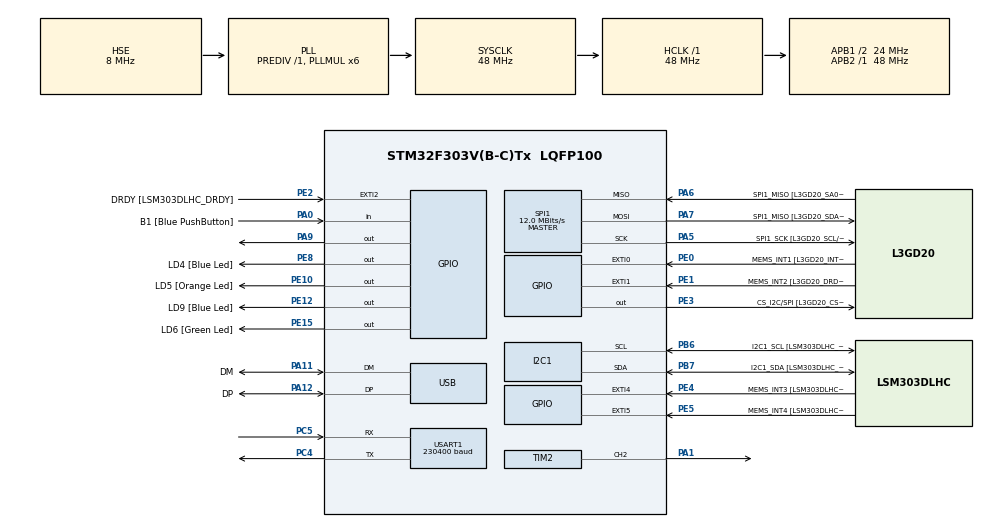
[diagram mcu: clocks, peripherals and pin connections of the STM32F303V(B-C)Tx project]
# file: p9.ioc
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I2C1.Timing=0x2000090E
I2C1.Timing-I2C=0x2000090E
Mcu.Family=STM32F3
Mcu.Name=STM32F303V(B-C)Tx
Mcu.Package=LQFP100
NVIC.PriorityGroup=NVIC_PRIORITYGROUP_0
NVIC.TIM3_IRQn=true\:0\:0\:false\:false\:true\:true\:true\:true
NVIC.USART1_IRQn=true\:0\:0\:false\:false\:true\:true\:true\:true
PA0.GPIO_Label=B1 [Blue PushButton]
PA0.Signal=GPIO_Input
PA1.Signal=S_TIM2_CH2
PA11.GPIO_Label=DM
PA11.Mode=Device
PA11.Signal=USB_DM
PA12.GPIO_Label=DP
PA12.Mode=Device
PA12.Signal=USB_DP
PA13.GPIO_Label=SWDIO
PA13.Mode=Serial_Wire
PA13.Signal=SYS_JTMS-SWDIO
PA14.GPIO_Label=SWCLK
PA14.Mode=Serial_Wire
PA14.Signal=SYS_JTCK-SWCLK
PA5.GPIO_Label=SPI1_SCK [L3GD20_SCL/SPC]
PA5.Mode=Full_Duplex_Master
PA5.Signal=SPI1_SCK
PA6.GPIO_Label=SPI1_MISO [L3GD20_SA0/SDO]
PA6.Mode=Full_Duplex_Master
PA6.Signal=SPI1_MISO
PA7.GPIO_Label=SPI1_MISO [L3GD20_SDA/SDI/SDO]
PA7.Mode=Full_Duplex_Master
PA7.Signal=SPI1_MOSI
PA9.Signal=GPIO_Output
PB3.GPIO_Label=SWO
PB3.Signal=SYS_JTDO-TRACESWO
PB6.GPIO_Label=I2C1_SCL [LSM303DLHC_SCL]
PB6.GPIO_Pu=GPIO_PULLUP
PB6.Mode=I2C
PB6.Signal=I2C1_SCL
PB7.GPIO_Label=I2C1_SDA [LSM303DLHC_SDA]
PB7.GPIO_Pu=GPIO_PULLUP
PB7.Mode=I2C
PB7.Signal=I2C1_SDA
PC14-OSC32_IN.GPIO_Label=OSC32_IN
PC14-OSC32_IN.Signal=RCC_OSC32_IN
PC15-OSC32_OUT.GPIO_Label=OSC32_OUT
PC15-OSC32_OUT.Signal=RCC_OSC32_OUT
PC4.Mode=Asynchronous
PC4.Signal=USART1_TX
PC5.Mode=Asynchronous
PC5.Signal=USART1_RX
PE0.GPIO_Label=MEMS_INT1 [L3GD20_INT1]
PE0.GPIO_ModeDefaultEXTI=GPIO_MODE_EVT_RISING
PE0.Signal=GPXTI0
PE1.GPIO_Label=MEMS_INT2 [L3GD20_DRDY/INT2]
PE1.GPIO_ModeDefaultEXTI=GPIO_MODE_EVT_RISING
PE1.Signal=GPXTI1
PE10.GPIO_Label=LD5 [Orange Led]
PE10.Signal=GPIO_Output
PE12.GPIO_Label=LD9 [Blue Led]
PE12.Signal=GPIO_Output
PE15.GPIO_Label=LD6 [Green Led]
PE15.Signal=GPIO_Output
PE2.GPIO_Label=DRDY [LSM303DLHC_DRDY]
PE2.GPIO_ModeDefaultEXTI=GPIO_MODE_EVT_RISING
PE2.Signal=GPXTI2
PE3.GPIO_Label=CS_I2C/SPI [L3GD20_CS_I2C/SPI]
PE3.Signal=GPIO_Output
PE4.GPIO_Label=MEMS_INT3 [LSM303DLHC_INT1]
PE4.GPIO_ModeDefaultEXTI=GPIO_MODE_EVT_RISING
PE4.Signal=GPXTI4
PE5.GPIO_Label=MEMS_INT4 [LSM303DLHC_INT2]
PE5.GPIO_ModeDefaultEXTI=GPIO_MODE_EVT_RISING
PE5.Signal=GPXTI5
PE8.GPIO_Label=LD4 [Blue Led]
PE8.Signal=GPIO_Output
PF0-OSC_IN.GPIO_Label=OSC_IN
PF0-OSC_IN.Mode=HSE-External-Clock-Source
PF0-OSC_IN.Signal=RCC_OSC_IN
PF1-OSC_OUT.GPIO_Label=OSC_OUT
PF1-OSC_OUT.Signal=RCC_OSC_OUT
ProjectManager.HeapSize=0x200
ProjectManager.StackSize=0x400
ProjectManager.TargetToolchain=STM32CubeIDE
RCC.AHBFreq_Value=48000000
RCC.APB1CLKDivider=RCC_HCLK_DIV2
RCC.APB1Freq_Value=24000000
RCC.APB1TimFreq_Value=48000000
RCC.APB2Freq_Value=48000000
RCC.APB2TimFreq_Value=48000000
RCC.CortexFreq_Value=48000000
RCC.HCLKFreq_Value=48000000
RCC.HSE_VALUE=8000000
RCC.HSI_VALUE=8000000
RCC.LSE_VALUE=32768
RCC.PLLMUL=RCC_PLL_MUL6
RCC.SYSCLKFreq_VALUE=48000000
RCC.SYSCLKSourceVirtual=RCC_SYSCLKSOURCE_PLLCLK
RCC.USBFreq_Value=48000000
SH.S_TIM2_CH2.0=TIM2_CH2,PWM Generation2 CH2
SPI1.BaudRatePrescaler=SPI_BAUDRATEPRESCALER_4
SPI1.BaudRatePrescaler-Full_Duplex_Master=SPI_BAUDRATEPRESCALER_2
SPI1.CalculateBaudRate=12.0 MBits/s
SPI1.CalculateBaudRate-Full_Duplex_Master=24.0 MBits/s
SPI1.Direction=SPI_DIRECTION_2LINES
SPI1.Mode=SPI_MODE_MASTER
SPI1.Mode-Full_Duplex_Master=SPI_MODE_MASTER
SPI1.VirtualType=VM_MASTER
TIM2.Channel-PWM\ Generation2\ CH2=TIM_CHANNEL_2
TIM3.Period=10000-1
TIM3.Prescaler=480-1
USART1.BaudRate=230400
USART1.VirtualMode-Asynchronous=VM_ASYNC
VP_TIM2_VS_ClockSourceINT.Mode=Internal
VP_TIM3_VS_ClockSourceINT.Mode=Internal
board=STM32F3DISCOVERY

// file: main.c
/* USER CODE BEGIN Header */
/**
  ******************************************************************************
  * @file           : main.c
  * @brief          : Main program body
  ******************************************************************************
  * @attention
  *
  * Copyright (c) 2023 STMicroelectronics.
  * All rights reserved.
  *
  * This software is licensed under terms that can be found in the LICENSE file
  * in the root directory of this software component.
  * If no LICENSE file comes with this software, it is provided AS-IS.
  *
  ******************************************************************************
  */
/* USER CODE END Header */
#include "main.h"

/* USER CODE BEGIN Includes */
#include <stdbool.h>

/* USER CODE END Includes */

I2C_HandleTypeDef hi2c1;

SPI_HandleTypeDef hspi1;

TIM_HandleTypeDef htim2;
TIM_HandleTypeDef htim3;

UART_HandleTypeDef huart1;

PCD_HandleTypeDef hpcd_USB_FS;

/* USER CODE BEGIN PV */
bool active = false;
bool diez = false;
int octave;
char ch;
int freq;
int clk_count = 0;
int volume = 26;
int note_freq[7][7] =
{
		{55, 62, 33, 37, 41, 44, 49},
		{110, 123, 65, 73, 82, 87, 98},
		{220, 247, 131, 147, 165, 175, 196},
		{440, 494, 262, 294, 330, 349, 392},
		{880, 988, 523, 587, 659, 698, 784},
		{1760, 1976, 1047, 1175, 1319, 1397, 1568},
		{3520, 3951, 2093, 2349, 2637, 2794, 3136}

};

int note_freq_diez[7][7] =
{
		{58, 65, 35, 39, 44, 46, 52},
		{117, 131, 69, 78, 87, 93, 104},
		{233, 262, 139, 156, 175, 185, 208},
		{466, 523, 277, 311, 349, 370, 415},
		{932, 1047, 554, 622, 698, 740, 831},
		{1865, 2093, 1109, 1245, 1397, 1480, 1661},
		{3729, 4186, 2217, 2489, 2794, 2960, 3322}

};
/* USER CODE END PV */

void SystemClock_Config(void);
static void MX_GPIO_Init(void);
static void MX_I2C1_Init(void);
static void MX_SPI1_Init(void);
static void MX_USB_PCD_Init(void);
static void MX_TIM2_Init(void);
static void MX_USART1_UART_Init(void);
static void MX_TIM3_Init(void);

/* USER CODE BEGIN 0 */

TIM_HandleTypeDef *pwm_timer = &htim2; // Point to PWM timer configured in CubeMX
uint32_t pwm_channel = TIM_CHANNEL_2;  // Specify configured PWM channel

void PWM_Start()
{
  HAL_TIM_PWM_Start(pwm_timer, pwm_channel);
}

void PWM_Change_Tone(uint16_t pwm_freq, uint16_t volume) // pwm_freq (1 - 20000), volume (0 - 1000)
{

  if (pwm_freq == 0 || pwm_freq > 20000)
  {
    __HAL_TIM_SET_COMPARE(pwm_timer, pwm_channel, 0);
  }
  else
  {
    const uint32_t internal_clock_freq = HAL_RCC_GetSysClockFreq();
	  const uint16_t prescaler = 1 + internal_clock_freq / pwm_freq / 60000;
    const uint32_t timer_clock = internal_clock_freq / prescaler;
    const uint32_t period_cycles = timer_clock / pwm_freq;
    const uint32_t pulse_width = volume * period_cycles / 1000 / 2;

    pwm_timer->Instance->PSC = prescaler - 1;
    pwm_timer->Instance->ARR = period_cycles - 1;
    pwm_timer->Instance->EGR = TIM_EGR_UG;
    __HAL_TIM_SET_COMPARE(pwm_timer, pwm_channel, pulse_width); // pwm_timer->Instance->CCR2 = pulse_width;
  }

}
/* USER CODE END 0 */

int main(void)
{

  /* MCU Configuration--------------------------------------------------------*/

  /* Reset of all peripherals, Initializes the Flash interface and the Systick. */
  HAL_Init();

  /* Configure the system clock */
  SystemClock_Config();

  /* Initialize all configured peripherals */
  MX_GPIO_Init();
  MX_I2C1_Init();
  MX_SPI1_Init();
  MX_USB_PCD_Init();
  MX_TIM2_Init();
  MX_USART1_UART_Init();
  MX_TIM3_Init();

  /* Infinite loop */
  /* USER CODE BEGIN WHILE */
  HAL_TIM_Base_Start_IT(&htim3);
  PWM_Start();

  HAL_UART_Receive_IT(&huart1, &ch, 1);

  while (1)
  {

    /* USER CODE END WHILE */

  }
}

void SystemClock_Config(void)
{
  RCC_OscInitTypeDef RCC_OscInitStruct = {0};
  RCC_ClkInitTypeDef RCC_ClkInitStruct = {0};
  RCC_PeriphCLKInitTypeDef PeriphClkInit = {0};

  /** Initializes the RCC Oscillators according to the specified parameters
  * in the RCC_OscInitTypeDef structure.
  */
  RCC_OscInitStruct.OscillatorType = RCC_OSCILLATORTYPE_HSI|RCC_OSCILLATORTYPE_HSE;
  RCC_OscInitStruct.HSEState = RCC_HSE_BYPASS;
  RCC_OscInitStruct.HSEPredivValue = RCC_HSE_PREDIV_DIV1;
  RCC_OscInitStruct.HSIState = RCC_HSI_ON;
  RCC_OscInitStruct.HSICalibrationValue = RCC_HSICALIBRATION_DEFAULT;
  RCC_OscInitStruct.PLL.PLLState = RCC_PLL_ON;
  RCC_OscInitStruct.PLL.PLLSource = RCC_PLLSOURCE_HSE;
  RCC_OscInitStruct.PLL.PLLMUL = RCC_PLL_MUL6;
  if (HAL_RCC_OscConfig(&RCC_OscInitStruct) != HAL_OK)
  {
    Error_Handler();
  }

  /** Initializes the CPU, AHB and APB buses clocks
  */
  RCC_ClkInitStruct.ClockType = RCC_CLOCKTYPE_HCLK|RCC_CLOCKTYPE_SYSCLK
                              |RCC_CLOCKTYPE_PCLK1|RCC_CLOCKTYPE_PCLK2;
  RCC_ClkInitStruct.SYSCLKSource = RCC_SYSCLKSOURCE_PLLCLK;
  RCC_ClkInitStruct.AHBCLKDivider = RCC_SYSCLK_DIV1;
  RCC_ClkInitStruct.APB1CLKDivider = RCC_HCLK_DIV2;
  RCC_ClkInitStruct.APB2CLKDivider = RCC_HCLK_DIV1;

  if (HAL_RCC_ClockConfig(&RCC_ClkInitStruct, FLASH_LATENCY_1) != HAL_OK)
  {
    Error_Handler();
  }
  PeriphClkInit.PeriphClockSelection = RCC_PERIPHCLK_USB|RCC_PERIPHCLK_USART1
                              |RCC_PERIPHCLK_I2C1;
  PeriphClkInit.Usart1ClockSelection = RCC_USART1CLKSOURCE_PCLK2;
  PeriphClkInit.I2c1ClockSelection = RCC_I2C1CLKSOURCE_HSI;
  PeriphClkInit.USBClockSelection = RCC_USBCLKSOURCE_PLL;
  if (HAL_RCCEx_PeriphCLKConfig(&PeriphClkInit) != HAL_OK)
  {
    Error_Handler();
  }
}

static void MX_I2C1_Init(void)
{

  hi2c1.Instance = I2C1;
  hi2c1.Init.Timing = 0x2000090E;
  hi2c1.Init.OwnAddress1 = 0;
  hi2c1.Init.AddressingMode = I2C_ADDRESSINGMODE_7BIT;
  hi2c1.Init.DualAddressMode = I2C_DUALADDRESS_DISABLE;
  hi2c1.Init.OwnAddress2 = 0;
  hi2c1.Init.OwnAddress2Masks = I2C_OA2_NOMASK;
  hi2c1.Init.GeneralCallMode = I2C_GENERALCALL_DISABLE;
  hi2c1.Init.NoStretchMode = I2C_NOSTRETCH_DISABLE;
  if (HAL_I2C_Init(&hi2c1) != HAL_OK)
  {
    Error_Handler();
  }

  /** Configure Analogue filter
  */
  if (HAL_I2CEx_ConfigAnalogFilter(&hi2c1, I2C_ANALOGFILTER_ENABLE) != HAL_OK)
  {
    Error_Handler();
  }

  /** Configure Digital filter
  */
  if (HAL_I2CEx_ConfigDigitalFilter(&hi2c1, 0) != HAL_OK)
  {
    Error_Handler();
  }

}

static void MX_SPI1_Init(void)
{

  /* SPI1 parameter configuration*/
  hspi1.Instance = SPI1;
  hspi1.Init.Mode = SPI_MODE_MASTER;
  hspi1.Init.Direction = SPI_DIRECTION_2LINES;
  hspi1.Init.DataSize = SPI_DATASIZE_4BIT;
  hspi1.Init.CLKPolarity = SPI_POLARITY_LOW;
  hspi1.Init.CLKPhase = SPI_PHASE_1EDGE;
  hspi1.Init.NSS = SPI_NSS_SOFT;
  hspi1.Init.BaudRatePrescaler = SPI_BAUDRATEPRESCALER_4;
  hspi1.Init.FirstBit = SPI_FIRSTBIT_MSB;
  hspi1.Init.TIMode = SPI_TIMODE_DISABLE;
  hspi1.Init.CRCCalculation = SPI_CRCCALCULATION_DISABLE;
  hspi1.Init.CRCPolynomial = 7;
  hspi1.Init.CRCLength = SPI_CRC_LENGTH_DATASIZE;
  hspi1.Init.NSSPMode = SPI_NSS_PULSE_ENABLE;
  if (HAL_SPI_Init(&hspi1) != HAL_OK)
  {
    Error_Handler();
  }

}

static void MX_TIM2_Init(void)
{

  TIM_ClockConfigTypeDef sClockSourceConfig = {0};
  TIM_MasterConfigTypeDef sMasterConfig = {0};
  TIM_OC_InitTypeDef sConfigOC = {0};

  htim2.Instance = TIM2;
  htim2.Init.Prescaler = 0;
  htim2.Init.CounterMode = TIM_COUNTERMODE_UP;
  htim2.Init.Period = 4294967295;
  htim2.Init.ClockDivision = TIM_CLOCKDIVISION_DIV1;
  htim2.Init.AutoReloadPreload = TIM_AUTORELOAD_PRELOAD_DISABLE;
  if (HAL_TIM_Base_Init(&htim2) != HAL_OK)
  {
    Error_Handler();
  }
  sClockSourceConfig.ClockSource = TIM_CLOCKSOURCE_INTERNAL;
  if (HAL_TIM_ConfigClockSource(&htim2, &sClockSourceConfig) != HAL_OK)
  {
    Error_Handler();
  }
  if (HAL_TIM_PWM_Init(&htim2) != HAL_OK)
  {
    Error_Handler();
  }
  sMasterConfig.MasterOutputTrigger = TIM_TRGO_RESET;
  sMasterConfig.MasterSlaveMode = TIM_MASTERSLAVEMODE_DISABLE;
  if (HAL_TIMEx_MasterConfigSynchronization(&htim2, &sMasterConfig) != HAL_OK)
  {
    Error_Handler();
  }
  sConfigOC.OCMode = TIM_OCMODE_PWM1;
  sConfigOC.Pulse = 0;
  sConfigOC.OCPolarity = TIM_OCPOLARITY_HIGH;
  sConfigOC.OCFastMode = TIM_OCFAST_DISABLE;
  if (HAL_TIM_PWM_ConfigChannel(&htim2, &sConfigOC, TIM_CHANNEL_2) != HAL_OK)
  {
    Error_Handler();
  }
  HAL_TIM_MspPostInit(&htim2);

}

static void MX_TIM3_Init(void)
{

  TIM_ClockConfigTypeDef sClockSourceConfig = {0};
  TIM_MasterConfigTypeDef sMasterConfig = {0};

  htim3.Instance = TIM3;
  htim3.Init.Prescaler = 480-1;
  htim3.Init.CounterMode = TIM_COUNTERMODE_UP;
  htim3.Init.Period = 10000-1;
  htim3.Init.ClockDivision = TIM_CLOCKDIVISION_DIV1;
  htim3.Init.AutoReloadPreload = TIM_AUTORELOAD_PRELOAD_DISABLE;
  if (HAL_TIM_Base_Init(&htim3) != HAL_OK)
  {
    Error_Handler();
  }
  sClockSourceConfig.ClockSource = TIM_CLOCKSOURCE_INTERNAL;
  if (HAL_TIM_ConfigClockSource(&htim3, &sClockSourceConfig) != HAL_OK)
  {
    Error_Handler();
  }
  sMasterConfig.MasterOutputTrigger = TIM_TRGO_RESET;
  sMasterConfig.MasterSlaveMode = TIM_MASTERSLAVEMODE_DISABLE;
  if (HAL_TIMEx_MasterConfigSynchronization(&htim3, &sMasterConfig) != HAL_OK)
  {
    Error_Handler();
  }

}

static void MX_USART1_UART_Init(void)
{

  huart1.Instance = USART1;
  huart1.Init.BaudRate = 230400;
  huart1.Init.WordLength = UART_WORDLENGTH_8B;
  huart1.Init.StopBits = UART_STOPBITS_1;
  huart1.Init.Parity = UART_PARITY_NONE;
  huart1.Init.Mode = UART_MODE_TX_RX;
  huart1.Init.HwFlowCtl = UART_HWCONTROL_NONE;
  huart1.Init.OverSampling = UART_OVERSAMPLING_16;
  huart1.Init.OneBitSampling = UART_ONE_BIT_SAMPLE_DISABLE;
  huart1.AdvancedInit.AdvFeatureInit = UART_ADVFEATURE_NO_INIT;
  if (HAL_UART_Init(&huart1) != HAL_OK)
  {
    Error_Handler();
  }

}

static void MX_USB_PCD_Init(void)
{

  hpcd_USB_FS.Instance = USB;
  hpcd_USB_FS.Init.dev_endpoints = 8;
  hpcd_USB_FS.Init.speed = PCD_SPEED_FULL;
  hpcd_USB_FS.Init.phy_itface = PCD_PHY_EMBEDDED;
  hpcd_USB_FS.Init.low_power_enable = DISABLE;
  hpcd_USB_FS.Init.battery_charging_enable = DISABLE;
  if (HAL_PCD_Init(&hpcd_USB_FS) != HAL_OK)
  {
    Error_Handler();
  }

}

static void MX_GPIO_Init(void)
{
  GPIO_InitTypeDef GPIO_InitStruct = {0};

  /* GPIO Ports Clock Enable */
  __HAL_RCC_GPIOE_CLK_ENABLE();
  __HAL_RCC_GPIOC_CLK_ENABLE();
  __HAL_RCC_GPIOF_CLK_ENABLE();
  __HAL_RCC_GPIOA_CLK_ENABLE();
  __HAL_RCC_GPIOB_CLK_ENABLE();

  /*Configure GPIO pin Output Level */
  HAL_GPIO_WritePin(GPIOE, CS_I2C_SPI_Pin|LD4_Pin|LD5_Pin|LD9_Pin
                          |LD6_Pin, GPIO_PIN_RESET);

  /*Configure GPIO pin Output Level */
  HAL_GPIO_WritePin(GPIOA, GPIO_PIN_9, GPIO_PIN_RESET);

  /*Configure GPIO pins : DRDY_Pin MEMS_INT3_Pin MEMS_INT4_Pin MEMS_INT1_Pin
                           MEMS_INT2_Pin */
  GPIO_InitStruct.Pin = DRDY_Pin|MEMS_INT3_Pin|MEMS_INT4_Pin|MEMS_INT1_Pin
                          |MEMS_INT2_Pin;
  GPIO_InitStruct.Mode = GPIO_MODE_EVT_RISING;
  GPIO_InitStruct.Pull = GPIO_NOPULL;
  HAL_GPIO_Init(GPIOE, &GPIO_InitStruct);

  /*Configure GPIO pins : CS_I2C_SPI_Pin LD4_Pin LD5_Pin LD9_Pin
                           LD6_Pin */
  GPIO_InitStruct.Pin = CS_I2C_SPI_Pin|LD4_Pin|LD5_Pin|LD9_Pin
                          |LD6_Pin;
  GPIO_InitStruct.Mode = GPIO_MODE_OUTPUT_PP;
  GPIO_InitStruct.Pull = GPIO_NOPULL;
  GPIO_InitStruct.Speed = GPIO_SPEED_FREQ_LOW;
  HAL_GPIO_Init(GPIOE, &GPIO_InitStruct);

  /*Configure GPIO pin : B1_Pin */
  GPIO_InitStruct.Pin = B1_Pin;
  GPIO_InitStruct.Mode = GPIO_MODE_INPUT;
  GPIO_InitStruct.Pull = GPIO_NOPULL;
  HAL_GPIO_Init(B1_GPIO_Port, &GPIO_InitStruct);

  /*Configure GPIO pin : PA9 */
  GPIO_InitStruct.Pin = GPIO_PIN_9;
  GPIO_InitStruct.Mode = GPIO_MODE_OUTPUT_PP;
  GPIO_InitStruct.Pull = GPIO_NOPULL;
  GPIO_InitStruct.Speed = GPIO_SPEED_FREQ_LOW;
  HAL_GPIO_Init(GPIOA, &GPIO_InitStruct);

}

/* USER CODE BEGIN 4 */
  void uart_rx_enable_it(void)
  {
  	HAL_UART_Receive_IT(&huart1, &ch, 1);
  }

  void HAL_UART_RxCpltCallback(UART_HandleTypeDef *huart)
  {

	  if(48 < ch && ch < 56) // read octave number
	  {
		  octave = ch - 49;
	  }
	  else if(64 < ch && ch < 72) // read note
	  {
		  active = true;
		  clk_count = 0;
	  }
	  else if(ch == '#' && clk_count < 1 && active)
	  {
		  diez = true;

	  }

	  HAL_UART_Receive_IT(&huart1, &ch, 1);

  }

  void HAL_TIM_PeriodElapsedCallback(TIM_HandleTypeDef *htim)
  {
	  if(htim-> Instance == TIM3)
	  {

		  if(active && clk_count > 0)
		  {
			  int freq = (diez == true) ? note_freq_diez[octave][ch-65] : note_freq[octave][ch-65];
			  PWM_Change_Tone(freq, volume);

			  if(clk_count == 6)
			  {
				  clk_count = -1;
				  active = false;
				  diez = false;

			  }

		  }
		  else
		  {
			  PWM_Change_Tone(0, volume);
		  }

		  clk_count += 1;
	  }

  }

/* USER CODE END 4 */

void Error_Handler(void)
{
  __disable_irq();
  while (1)
  {
  }
}
